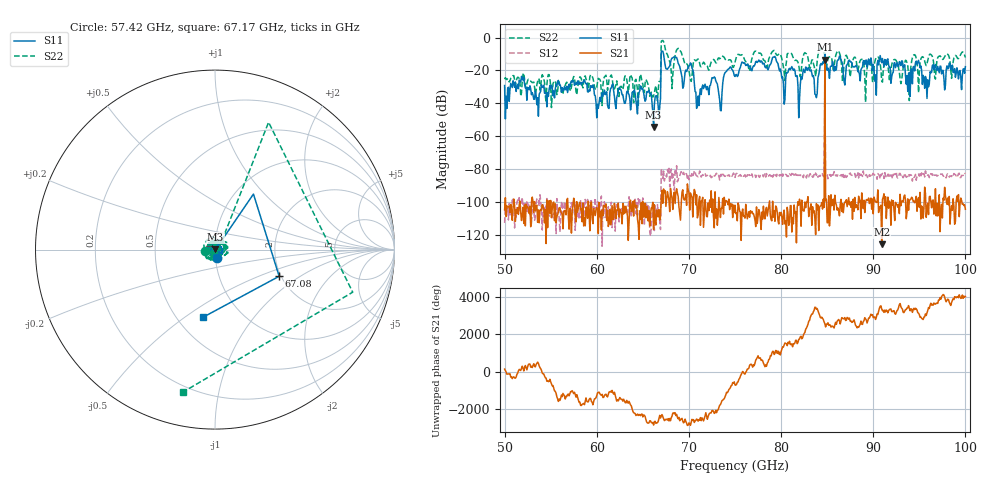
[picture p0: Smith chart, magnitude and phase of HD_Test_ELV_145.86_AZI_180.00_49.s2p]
! 11/25/2026 9:28:02 AM
! C:\ANRITSUVNA\TEMP\TEMP.S2P
! CHANNEL.1
! TR.MEASUREMENT
! RAW.DATA
# HZ S RI R 50.0
! FREQ.HZ  S11RE  S11IM  S21RE  S21IM  S12RE  S12IM  S22RE  S22IM
!; PortSelection: Port_12
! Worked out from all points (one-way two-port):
!   601 points, 50 GHz to 100 GHz, reference 50 ohm
!   highest |S21| = -13.51 dB at 84.75 GHz (marker M1); lowest = -125.9 dB at 90.92 GHz (marker M2)
!   lowest |S11| = -54.4 dB at 66.17 GHz (marker M3), VSWR 1.00, Z = 50.1 + j0.148 ohm
!   |S11| at or under -10 dB: start of sweep to 67 GHz; 67.24 GHz to 84.74 GHz (17.5 GHz wide, 23 % of centre); 84.76 GHz to end of sweep
!   |S22| runs from -42.6 to -1.8 dB; largest |S21 - S12| = 0.24
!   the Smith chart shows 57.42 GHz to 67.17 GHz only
!   S11 on the Smith chart (normalised r, x): 57.42 GHz: 1.02, -0.10; 67.08 GHz: 1.95, -0.68; 67.17 GHz: 0.67, -0.59
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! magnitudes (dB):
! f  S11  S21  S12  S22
! 50 GHz  -29.2  -104.9  -112.8  -25.4
! 57.42 GHz  -26.3  -102.0  -101.8  -25.2
! 58.42 GHz  -27.2  -112.1  -102.5  -29.0
! 60.17 GHz  -43.1  -119.3  -100.3  -24.8
! 61.67 GHz  -28.7  -102.4  -115.7  -24.5
! 66.17 GHz  -54.4  -116.8  -111.4  -35.4
! 66.67 GHz  -42.0  -109.2  -106.3  -32.2
! 67.08 GHz  -8.2  -93.0  -83.1  -1.9
! 67.17 GHz  -8.4  -100.9  -85.8  -1.8
! 70.17 GHz  -15.4  -94.6  -84.3  -25.7
! 70.92 GHz  -40.7  -109.8  -84.4  -13.3
! 75 GHz  -23.7  -102.0  -85.1  -15.0
! 79.25 GHz  -11.8  -105.4  -82.8  -7.9
! 80.25 GHz  -27.6  -107.7  -83.3  -17.6
! 83.42 GHz  -23.8  -102.9  -85.0  -13.6
! 84.75 GHz  -9.6  -13.5  -29.0  -10.0
! 90.92 GHz  -15.3  -125.9  -83.5  -26.3
! 91.67 GHz  -16.7  -103.9  -83.3  -20.4
! 93.75 GHz  -32.8  -98.2  -84.6  -17.2
! 94.83 GHz  -15.0  -99.1  -83.6  -20.3
! 95.83 GHz  -37.1  -104.0  -84.3  -15.9
! 100 GHz  -17.7  -104.5  -82.9  -12.1
